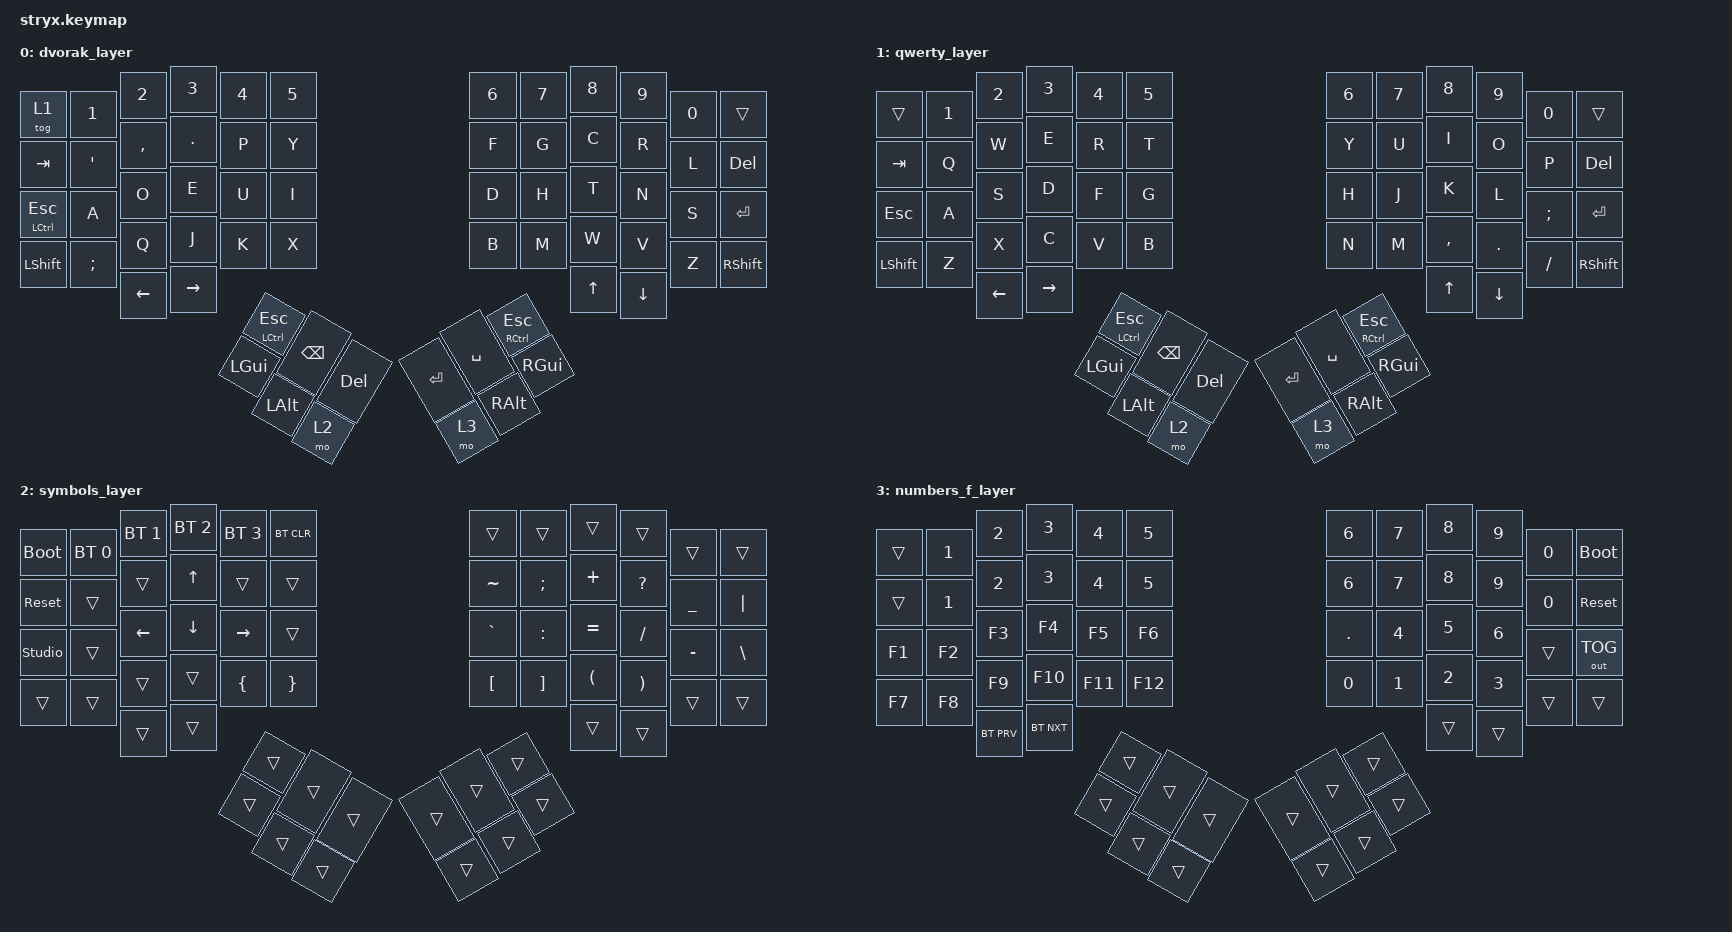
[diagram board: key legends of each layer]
/*
 * Copyright (c) 2024 The ZMK Contributors
 *
 * SPDX-License-Identifier: MIT
 */

#include <behaviors.dtsi>
#include <dt-bindings/zmk/keys.h>
#include <dt-bindings/zmk/bt.h>
#include <dt-bindings/zmk/outputs.h>

/ {
    keymap {
        compatible = "zmk,keymap";

        dvorak_layer { // layer 0
            bindings = <
&tog 1        &kp N1    &kp N2     &kp N3        &kp N4   &kp N5  &kp N6    &kp N7    &kp N8        &kp N9  &kp N0    &trans
&kp TAB       &kp SQT   &kp COMMA  &kp DOT       &kp P    &kp Y   &kp F     &kp G     &kp C         &kp R   &kp L     &kp DEL
&mt LCTRL ESC &kp A     &kp O      &kp E         &kp U    &kp I   &kp D     &kp H     &kp T         &kp N   &kp S     &kp RET
&kp LSHFT     &kp SEMI  &kp Q      &kp J         &kp K    &kp X   &kp B     &kp M     &kp W         &kp V   &kp Z     &kp RSHFT
              &kp LEFT  &kp RIGHT  &mt LCTRL ESC &kp BSPC &kp DEL &kp RET   &kp SPACE &mt RCTRL ESC &kp UP  &kp DOWN
                                   &kp LGUI      &kp LALT &mo 2   &mo 3     &kp RALT  &kp RGUI
            >;
        };

        qwerty_layer { // layer 1
            bindings = <
&trans    &kp N1    &kp N2     &kp N3    &kp N4    &kp N5        &kp N6    &kp N7    &kp N8     &kp N9     &kp N0    &trans
&kp TAB   &kp Q     &kp W      &kp E     &kp R     &kp T         &kp Y     &kp U     &kp I      &kp O      &kp P     &kp DEL
&kp ESC   &kp A     &kp S      &kp D     &kp F     &kp G         &kp H     &kp J     &kp K      &kp L      &kp SEMI  &kp RET
&kp LSHFT &kp Z     &kp X      &kp C     &kp V     &kp B         &kp N     &kp M     &kp COMMA  &kp DOT    &kp FSLH  &kp RSHFT
          &kp LEFT  &kp RIGHT  &mt LCTRL ESC &kp BSPC &kp DEL   &kp RET   &kp SPACE &mt RCTRL ESC &kp UP  &kp DOWN
                               &kp LGUI  &kp LALT  &mo 2         &mo 3     &kp RALT  &kp RGUI
            >;
        };

        symbols_layer { // layer 2
            bindings = <
&bootloader   &bt BT_SEL 0 &bt BT_SEL 1 &bt BT_SEL 2 &bt BT_SEL 3 &bt BT_CLR   &trans    &trans    &trans     &trans     &trans    &trans
&sys_reset    &trans    &trans     &kp UP    &trans    &trans           &kp TILDE &kp SEMI  &kp PLUS   &kp QMARK  &kp UNDER &kp PIPE
&studio_unlock   &trans    &kp LEFT   &kp DOWN  &kp RIGHT &trans           &kp GRAVE &kp COLON &kp EQUAL  &kp FSLH   &kp MINUS &kp BSLH
&trans    &trans    &trans     &trans    &kp LBRC  &kp RBRC         &kp LBKT  &kp RBKT  &kp LPAR   &kp RPAR   &trans    &trans
          &trans    &trans     &trans    &trans    &trans           &trans    &trans    &trans     &trans     &trans
                               &trans    &trans    &trans           &trans    &trans    &trans
            >;
        };
        numbers_f_layer { // layer 3
            bindings = <
&trans    &kp N1       &kp N2       &kp N3       &kp N4       &kp N5        &kp N6    &kp N7    &kp N8     &kp N9     &kp N0    &bootloader
&trans    &kp N1       &kp N2       &kp N3       &kp N4       &kp N5        &kp N6    &kp N7    &kp N8     &kp N9     &kp N0    &sys_reset
&kp F1    &kp F2       &kp F3       &kp F4       &kp F5       &kp F6        &kp DOT   &kp N4    &kp N5     &kp N6     &trans    &out OUT_TOG
&kp F7    &kp F8       &kp F9       &kp F10      &kp F11      &kp F12       &kp N0    &kp N1    &kp N2     &kp N3     &trans    &trans
          &bt BT_PRV   &bt BT_NXT   &trans       &trans       &trans        &trans    &trans    &trans     &trans     &trans
                                    &trans     &trans       &trans        &trans    &trans    &trans
            >;
        };
    };
};
